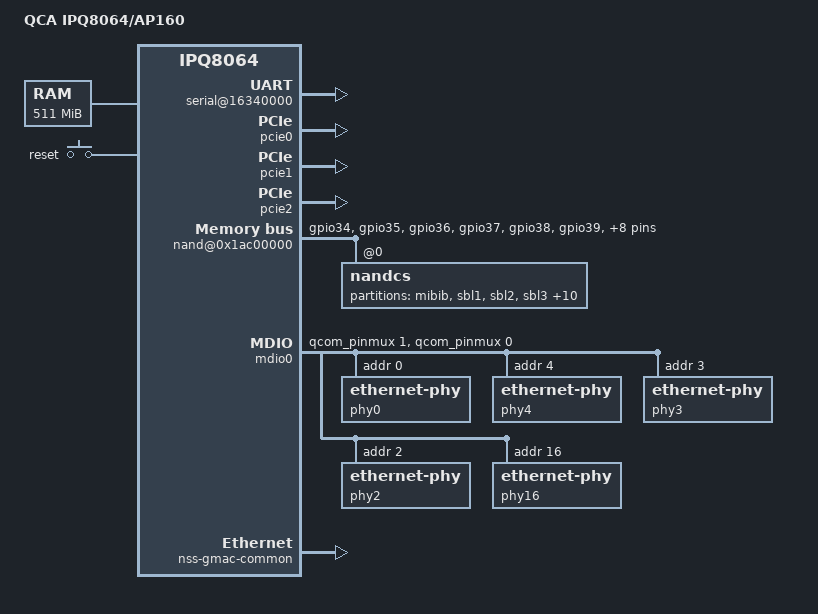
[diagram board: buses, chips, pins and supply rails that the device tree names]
/* Copyright (c) 2015, 2016, The Linux Foundation. All rights reserved.
 *
 * Permission to use, copy, modify, and/or distribute this software for any
 * purpose with or without fee is hereby granted, provided that the above
 * copyright notice and this permission notice appear in all copies.
 *
 * THE SOFTWARE IS PROVIDED "AS IS" AND THE AUTHOR DISCLAIMS ALL WARRANTIES
 * WITH REGARD TO THIS SOFTWARE INCLUDING ALL IMPLIED WARRANTIES OF
 * MERCHANTABILITY AND FITNESS. IN NO EVENT SHALL THE AUTHOR BE LIABLE FOR
 * ANY SPECIAL, DIRECT, INDIRECT, OR CONSEQUENTIAL DAMAGES OR ANY DAMAGES
 * WHATSOEVER RESULTING FROM LOSS OF USE, DATA OR PROFITS, WHETHER IN AN
 * ACTION OF CONTRACT, NEGLIGENCE OR OTHER TORTIOUS ACTION, ARISING OUT OF
 * OR IN CONNECTION WITH THE USE OR PERFORMANCE OF THIS SOFTWARE.
 *
 */

#include <dt-bindings/interrupt-controller/arm-gic.h>
#include <dt-bindings/interrupt-controller/irq.h>
#include <dt-bindings/input/input.h>
#include <dt-bindings/gpio/gpio.h>

/ {
	model = "QCA IPQ8064/AP160";
	compatible = "qcom,ipq8064-ap160", "qcom,ipq8064";

	memory {
		device_type = "memory";
		reg = <0x40000000 0x1FF00000>;
	};

	reserved-memory {
		#address-cells = <1>;
		#size-cells = <1>;
		ranges;
		rsvd@41200000 {
			reg = <0x41200000 0x300000>;
			no-map;
		};

		pstore: pstore@0x5ffc0000 {
			reg = <0x5ffc0000 0x40000>;
		};
	};

	aliases {
		mdio-gpio0 = &mdio0;
		mdio-gpio1 = &mdio1;
	};

	soc {
		pinmux@800000 {
			pinctrl-names = "default";

			nand_pins: nand_pins {
				mux {
					pins = "gpio34", "gpio35", "gpio36",
						"gpio37", "gpio38", "gpio39",
						"gpio40", "gpio41", "gpio42",
						"gpio43", "gpio44", "gpio45",
						"gpio46", "gpio47";
					function = "nand";
					drive-strength = <10>;
					bias-disable;
				};
				pullups {
					pins = "gpio39";
					bias-pull-up;
				};
				hold {
					pins = "gpio40", "gpio41", "gpio42",
						"gpio43", "gpio44", "gpio45",
						"gpio46", "gpio47";
					bias-bus-hold;
				};
			};

			leds_pins: leds_pins {
				mux {
					pins = "gpio7";
					function = "gpio";
					drive-strength = <2>;
					bias-pull-down;
					output-low;
				};
			};
		};

		gsbi@16300000 {
			qcom,mode = <GSBI_PROT_I2C_UART>;
			status = "ok";
			serial@16340000 {
				status = "ok";
			};
		};

		pcie0: pci@1b500000 {
			status = "ok";
		};

		pcie1: pci@1b700000 {
			status = "ok";
		};

		pcie2: pci@1b900000 {
			status = "ok";
		};

		dma@18300000 {
			status = "ok";
		};

		nand@0x1ac00000 {
			status = "ok";

			pinctrl-0 = <&nand_pins>;
			pinctrl-names = "default";

			nand-ecc-strength = <4>;
			nand-bus-width = <8>;
			boot-layout-max-page = <17024>;

			nandcs@0 {
			partition@0 {
				label = "mibib";
				reg = <0x00040000 0x00140000>;
			};
			partition@1 {
				label = "sbl1";
				reg = <0x00000000 0x00040000>;
			};
			partition@2 {
				label = "sbl2";
				reg = <0x00180000 0x00140000>;
			};
			partition@3 {
				label = "sbl3";
				reg = <0x002c0000 0x00280000>;
			};
			partition@4 {
				label = "ddrconfig";
				reg = <0x00540000 0x00120000>;
			};
			partition@5 {
				label = "ssd";
				reg = <0x00660000 0x00120000>;
			};
			partition@6 {
				label = "tz";
				reg = <0x00780000 0x00280000>;
			};
			partition@7 {
				label = "rpm";
				reg = <0x00a00000 0x00280000>;
			};
			partition@8 {
				label = "u-boot";
				reg = <0x01fc0000 0x00180000>;
			};
			partition@9 {
				label = "bootkernel1";
				reg = <0x021c0000 0x00a80000>;
			};
			partition@10 {
				label = "bootkernel2";
				reg = <0x02c40000 0x00a80000>;
			};
			partition@11 {
				label = "ubi";
				reg = <0x036c0000 0x046c0000>;
			};
			partition@12 {
				label = "art";
				reg = <0x07d80000 0x00200000>;
			};
			partition@13 {
				label = "all";
				reg = <0x00000000 0x08000000>;
			};
			};
		};

		tcsr@1a400000 {
			status = "ok";
		};

		gpio_keys {
			compatible = "gpio-keys-polled";
			autorepeat;
			poll-interval = <20>;

			button@1 {
				label = "reset";
				linux,code = <KEY_RESTART>;
				linux,input-type = <0>;
				debounce-interval = <60>;
			};
		};

		mdio0: mdio {
			compatible = "virtual,mdio-gpio";
			#address-cells = <1>;
			#size-cells = <0>;
			gpios = <&qcom_pinmux 1 0 &qcom_pinmux 0 0>;

			phy0: ethernet-phy@0 {
				device_type = "ethernet-phy";
				reg = <0>;
			};

			phy4: ethernet-phy@4 {
				device_type = "ethernet-phy";
				reg = <4>;
			};

			phy3: ethernet-phy@3 {
				device_type = "ethernet-phy";
				reg = <3>;
			};

			phy2: ethernet-phy@2 {
				device_type = "ethernet-phy";
				reg = <2>;
			};

			phy16: ethernet-phy@16 {
				device_type = "ethernet-phy";
				reg = <16>;
			};
		};

		mdio1: mdio1 {
			compatible = "virtual,mdio-gpio";
			#address-cells = <1>;
			#size-cells = <0>;
			gpios = <&qcom_pinmux 66 0 &qcom_pinmux 2 0>;
			status = "disabled";

			phy5: ethernet-phy@5 {
				device_type = "ethernet-phy";
				reg = <5>;
			};
		};

		nss0: nss@40000000 {
			compatible = "qcom,nss";
			interrupts = <GIC_SPI 213 IRQ_TYPE_LEVEL_HIGH>,
				     <GIC_SPI 232 IRQ_TYPE_LEVEL_HIGH>;
			reg = <0x36000000 0x1000 0x39000000 0x10000>;
			reg-names = "nphys", "vphys";
			clocks = <&gcc NSS_CORE_CLK>, <&gcc NSSTCM_CLK_SRC>,
				 <&gcc NSSTCM_CLK>, <&nss_fabric0_clk>,
				 <&nss_fabric1_clk>;
			clock-names = "nss-core-clk", "nss-tcm-src",
				      "nss-tcm-clk", "nss-fab0-clk",
				      "nss-fab1-clk";
			resets = <&gcc UBI32_CORE1_CLKRST_CLAMP_RESET>,
				 <&gcc UBI32_CORE1_CLAMP_RESET>,
				 <&gcc UBI32_CORE1_AHB_RESET>,
				 <&gcc UBI32_CORE1_AXI_RESET>;
			reset-names = "clkrst-clamp", "clamp", "ahb", "axi";

			qcom,id = <0>;
			qcom,num-irq = <2>;
			qcom,num-queue = <2>;
			qcom,load-addr = <0x40000000>;
			qcom,turbo-frequency;

			qcom,ipv4-enabled;
			qcom,ipv6-enabled;
			qcom,l2tpv2-enabled;
			qcom,gre-enabled;
			qcom,map-t-enabled;
			qcom,pptp-enabled;
			qcom,portid-enabled;
			qcom,shaping-enabled;
			qcom,tun6rd-enabled;
			qcom,tunipip6-enabled;
			qcom,wlan-dataplane-offload-enabled;
			qcom,wlanredirect-enabled;
		};

		nss1: nss@40800000 {
			compatible = "qcom,nss";
			interrupts = <GIC_SPI 214 IRQ_TYPE_LEVEL_HIGH>,
				     <GIC_SPI 233 IRQ_TYPE_LEVEL_HIGH>;
			reg = <0x36400000 0x1000 0x39010000 0x10000>;
			reg-names = "nphys", "vphys";
			resets = <&gcc UBI32_CORE2_CLKRST_CLAMP_RESET>,
				 <&gcc UBI32_CORE2_CLAMP_RESET>,
				 <&gcc UBI32_CORE2_AHB_RESET>,
				 <&gcc UBI32_CORE2_AXI_RESET>;
			reset-names = "clkrst-clamp", "clamp", "ahb", "axi";

			qcom,id = <1>;
			qcom,num-irq = <2>;
			qcom,num-queue = <2>;
			qcom,load-addr = <0x40800000>;
			qcom,turbo-frequency;

			qcom,capwap-enabled;
			qcom,crypto-enabled;
			qcom,dtls-enabled;
			qcom,ipsec-enabled;
		};

		nss-gmac-common {
			compatible = "qcom,nss-gmac-common";
			reg = <0x03000000 0x0000FFFF 0x1bb00000 0x0000FFFF 0x00900000 0x00004000>;
			reg-names = "nss_reg_base" , "qsgmii_reg_base", "clk_ctl_base";
		};

		crypto1: crypto@38000000 {
			compatible = "qcom,nss-crypto";
			reg-names = "crypto_pbase", "bam_base";
			reg = <0x38000000 0x20000>,
			    <0x38004000 0x22000>;
                        resets = <&gcc CRYPTO_ENG1_RESET>,
                                 <&gcc CRYPTO_AHB_RESET>;
                        reset-names = "rst_eng", "rst_ahb";
			clocks = <&gcc CE5_CORE_CLK>, <&gcc CE5_A_CLK>, <&gcc CE5_H_CLK>;
			clock-names = "ce5_core", "ce5_aclk", "ce5_hclk";
			qcom,ee = <0>;
		};

		crypto2: crypto@38400000 {
			compatible = "qcom,nss-crypto";
			reg-names = "crypto_pbase", "bam_base";
			reg = <0x38400000 0x20000>,
			    <0x38404000 0x22000>;
                        resets = <&gcc CRYPTO_ENG2_RESET>;
                        reset-names = "rst_eng";
			qcom,ee = <0>;
		};

		crypto3: crypto@38800000 {
			compatible = "qcom,nss-crypto";
			reg-names = "crypto_pbase", "bam_base";
			reg = <0x38800000 0x20000>,
			    <0x38804000 0x22000>;
                        resets = <&gcc CRYPTO_ENG3_RESET>;
                        reset-names = "rst_eng";
			qcom,ee = <0>;
		};

		crypto4: crypto@38C00000 {
			compatible = "qcom,nss-crypto";
			reg-names = "crypto_pbase", "bam_base";
			reg = <0x38C00000 0x20000>,
			    <0x38C04000 0x22000>;
                        resets = <&gcc CRYPTO_ENG4_RESET>;
                        reset-names = "rst_eng";
			qcom,ee = <0>;
		};

	ramoops {
		compatible = "ramoops";
		memory-region = <&pstore>;
		record-size = <0x20000>;
		console-size = <0>;
		ftrace-size = <0>;
		pmsg-size = <0>;
		ecc-size = <0>;
	};

	};

	chosen {
		bootargs-append = " console=ttyMSM1,115200n8 earlyprintk ubi.mtd=ubi ubi.mtd=art clk_ignore_unused";
	};
};

&adm_dma {
	status = "ok";
};
